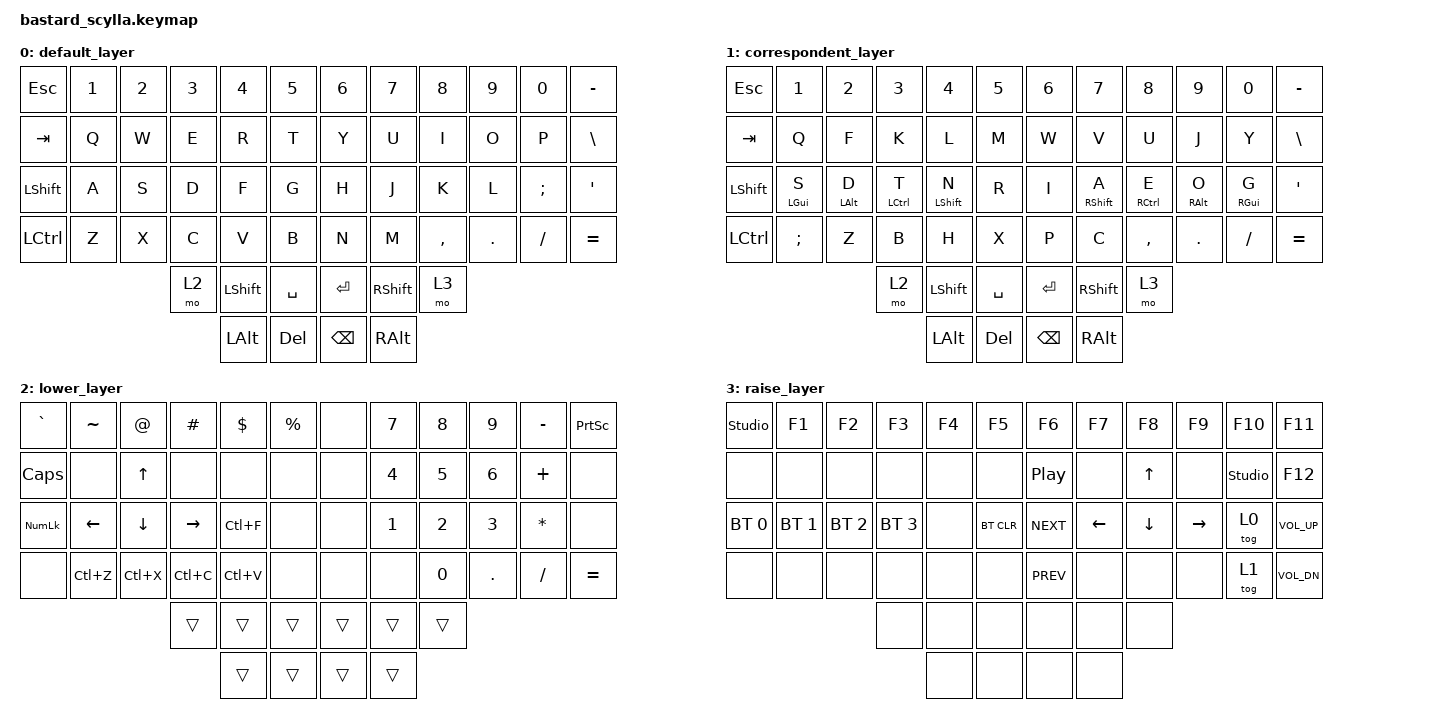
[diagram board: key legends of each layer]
#include <behaviors.dtsi>
#include <dt-bindings/zmk/keys.h>
#include <dt-bindings/zmk/bt.h>

// Lagen logisch genummerd
#define DEFAULT 0
#define CORRESPONDENT 1
#define LOWER 2
#define RAISE 3

/ {
    behaviors {
        hm: homerow_mods {
            compatible = "zmk,behavior-hold-tap";
            label = "HOMEROW_MODS";
            #binding-cells = <2>;
            tapping-term-ms = <200>;
            quick-tap-ms = <0>;
            flavor = "tap-preferred";
            bindings = <&kp>, <&kp>;
        };
    };

    combos {
        compatible = "zmk,combos";
        timeout-ms = <50>;

        // Combos werken nu op beide basislagen (0 en 1)
        combo_lbrc  { bindings = <&kp LEFT_BRACE>; key-positions = <15 16>; layers = <0 1>; };
        combo_rbrc  { bindings = <&kp RIGHT_BRACE>; key-positions = <19 20>; layers = <0 1>; };
        combo_lbkt  { bindings = <&kp LBKT>; key-positions = <27 28>; layers = <0 1>; };
        combo_rbkt  { bindings = <&kp RBKT>; key-positions = <31 32>; layers = <0 1>; };
        combo_lpar  { bindings = <&kp LEFT_PARENTHESIS>; key-positions = <39 40>; layers = <0 1>; };
        combo_rpar  { bindings = <&kp RIGHT_PARENTHESIS>; key-positions = <43 44>; layers = <0 1>; };
		
        combo_rgui  { bindings = <&kp RGUI>; key-positions = <46 47>; layers = <0 1>; };

        combo_bslh  { bindings = <&kp BACKSLASH>; key-positions = <17 18>; layers = <0 1>; };
        combo_pipe  { bindings = <&kp PIPE>; key-positions = <29 30>; layers = <0 1>; };
        combo_slash { bindings = <&kp SLASH>; key-positions = <41 42>; layers = <0 1>; };
        combo_esc   { bindings = <&kp ESC>; key-positions = <13 14>; layers = <0 1>; };
        combo_tab   { bindings = <&kp TAB>; key-positions = <25 26>; layers = <0 1>; };
        combo_cad   { bindings = <&kp LC(LA(DEL))>; key-positions = <10 11>; layers = <0 1>; }; 
        combo_cse   { bindings = <&kp LS(LC(ESC))>; key-positions = <0 1>; layers = <0 1>; };		
    };

    keymap {
        compatible = "zmk,keymap";

        default_layer {
            bindings = <
    &kp ESC     &kp N1      &kp N2      &kp N3      &kp N4      &kp N5              &kp N6      &kp N7      &kp N8      &kp N9      &kp N0      &kp MINUS
    &kp TAB     &kp Q       &kp W       &kp E       &kp R       &kp T               &kp Y       &kp U       &kp I       &kp O       &kp P       &kp BSLH
    &kp LSHIFT  &kp A       &kp S       &kp D       &kp F       &kp G               &kp H       &kp J       &kp K       &kp L       &kp SEMI    &kp SQT
    &kp LCTRL   &kp Z       &kp X       &kp C       &kp V       &kp B               &kp N       &kp M       &kp COMMA   &kp DOT     &kp FSLH    &kp EQUAL
                                        &mo 2       &kp LSHIFT  &kp SPACE           &kp ENTER   &kp RSHIFT  &mo 3       
                                                    &kp LALT    &kp DEL             &kp BACKSPACE &kp RALT        
            >;
        };

        correspondent_layer {
            bindings = <
    &kp ESC     &kp N1      &kp N2      &kp N3      &kp N4      &kp N5              &kp N6      &kp N7      &kp N8      &kp N9      &kp N0      &kp MINUS
    &kp TAB     &kp Q       &kp F       &kp K       &kp L       &kp M               &kp W       &kp V       &kp U       &kp J       &kp Y       &kp BSLH
    &kp LSHIFT  &hm LGUI S  &hm LALT D  &hm LCTRL T &hm LSHIFT N &kp R              &kp I       &hm RSHIFT A &hm RCTRL E &hm RALT O &hm RGUI G  &kp SQT
    &kp LCTRL   &kp SEMI    &kp Z       &kp B       &kp H       &kp X               &kp P       &kp C       &kp COMMA   &kp DOT     &kp FSLH    &kp EQUAL
                                        &mo 2       &kp LSHIFT  &kp SPACE           &kp ENTER   &kp RSHIFT  &mo 3       
                                                    &kp LALT    &kp DEL             &kp BACKSPACE &kp RALT        
            >;
        };

        lower_layer {
            bindings = <
    &kp GRAVE   &kp TILDE   &kp AT      &kp HASH    &kp DLLR    &kp PRCNT           &none       &kp N7      &kp N8      &kp N9      &kp MINUS    &kp PSCRN
    &kp CAPS    &none       &kp UP      &none       &none       &none               &none       &kp N4      &kp N5      &kp N6      &kp PLUS     &none
    &kp KP_NUM  &kp LEFT    &kp DOWN    &kp RIGHT   &kp LC(F)   &none               &none       &kp N1      &kp N2      &kp N3      &kp ASTERISK &none
    &none       &kp LC(Z)   &kp LC(X)   &kp LC(C)   &kp LC(V)   &none               &none       &none       &kp N0      &kp DOT     &kp SLASH    &kp EQUAL
                                        &trans      &trans      &trans              &trans      &trans      &trans
                                                    &trans      &trans              &trans      &trans
            >;
        };

        raise_layer {
            bindings = <
    &studio_unlock &kp F1   &kp F2      &kp F3      &kp F4      &kp F5              &kp F6      &kp F7      &kp F8      &kp F9      &kp F10     &kp F11
    &none       &none       &none       &none       &none       &none               &kp C_PP    &none       &kp UP      &none       &studio_unlock &kp F12
    &bt BT_SEL 0 &bt BT_SEL 1 &bt BT_SEL 2 &bt BT_SEL 3 &none   &bt BT_CLR          &kp C_NEXT  &kp LEFT    &kp DOWN    &kp RIGHT   &tog 0       &kp C_VOL_UP
    &none       &none       &none       &none       &none       &none               &kp C_PREV  &none       &none       &none       &tog 1      &kp C_VOL_DN
                                        &none       &none       &none               &none       &none       &none
                                                    &none       &none               &none       &none
            >;
        };
    };
};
